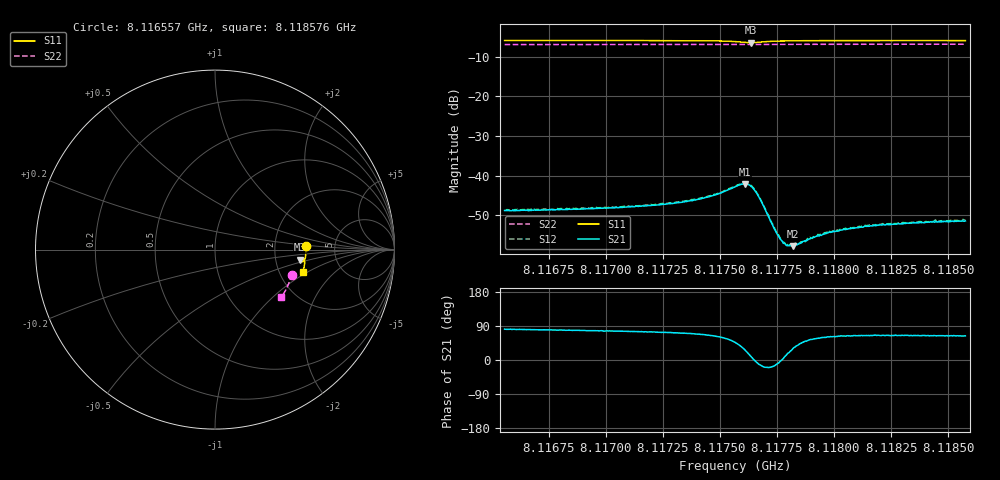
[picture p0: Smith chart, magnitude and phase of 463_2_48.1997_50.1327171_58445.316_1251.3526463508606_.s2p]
#  HZ  S  RI  R  50.00
! Rohde & Schwarz Vector Network Analyzer
! Rohde-Schwarz,ZNB20-2Port,1311601062101988,3.16
! Created: UTC 3/20/2024, 11:56:50 AM
! freq[Hz]  re:S11  im:S11  re:S21  im:S21  re:S12  im:S12  re:S22  im:S22
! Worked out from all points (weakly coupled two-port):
!   401 points, 8.116557 GHz to 8.118576 GHz, reference 50 ohm
!   highest |S21| = -42.05 dB at 8.117612 GHz (marker M1); lowest = -57.8 dB at 8.117819 GHz (marker M2)
!   lowest |S11| = -6.4 dB at 8.117637 GHz (marker M3), VSWR 2.82, Z = 138 - j19.7 ohm
!   |S11| at or under -10 dB: nowhere
!   |S22| runs from -6.9 to -6.8 dB; largest |S21 - S12| = 0.00025
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8.1165571e9  0.5073 0.0179  0.00055 0.00359  0.00062 0.00364  0.4285 -0.1389
8.1168952e9  0.5071 -0.00816  0.000804 0.00373  0.000843 0.00382  0.4214 -0.1614
8.1170466e9  0.5065 -0.02  0.000962 0.00386  0.00102 0.00391  0.4179 -0.1713
8.1172333e9  0.505 -0.0353  0.00124 0.0041  0.00128 0.00418  0.4132 -0.1836
8.1174302e9  0.5007 -0.0536  0.00203 0.00481  0.00209 0.00489  0.4075 -0.1964
8.1175008e9  0.4965 -0.0614  0.00295 0.00525  0.00304 0.00538  0.4055 -0.201
8.1175664e9  0.4869 -0.0679  0.00497 0.00527  0.00507 0.00536  0.4032 -0.2052
8.1176118e9  0.4753 -0.0641  0.00713 0.00339  0.00732 0.00341  0.4015 -0.2074
8.117637e9  0.4728 -0.0555  0.00724 0.0011  0.00745 0.00108  0.4009 -0.2086
8.1176522e9  0.475 -0.0505  0.0066 -0.000123  0.00676 -0.000213  0.4006 -0.2092
8.1176724e9  0.4806 -0.0467  0.00521 -0.00109  0.00541 -0.00113  0.4003 -0.2104
8.1177329e9  0.494 -0.0509  0.00221 -0.000671  0.00229 -0.000736  0.3989 -0.2145
8.1177632e9  0.4969 -0.055  0.0016 -0.000107  0.00165 -0.000119  0.3981 -0.2165
8.1177884e9  0.4982 -0.0586  0.00133 0.000265  0.00132 0.000272  0.3975 -0.2181
8.1178187e9  0.4992 -0.0625  0.00113 0.000631  0.00115 0.000658  0.3965 -0.22
8.117849e9  0.4995 -0.0659  0.00104 0.000951  0.00103 0.000921  0.3957 -0.222
8.1179045e9  0.4997 -0.0717  0.000956 0.00133  0.000973 0.00129  0.3938 -0.2256
8.1179802e9  0.4991 -0.0787  0.000941 0.0017  0.000974 0.00173  0.3914 -0.2304
8.1180407e9  0.4988 -0.084  0.000945 0.00187  0.000964 0.0019  0.3894 -0.2342
8.1181467e9  0.4973 -0.0928  0.000997 0.00208  0.00101 0.00213  0.3858 -0.2407
8.1182426e9  0.4958 -0.1004  0.00102 0.00218  0.00107 0.00223  0.3823 -0.2464
8.1185756e9  0.4899 -0.1253  0.00119 0.00241  0.00125 0.00247  0.3699 -0.2664
